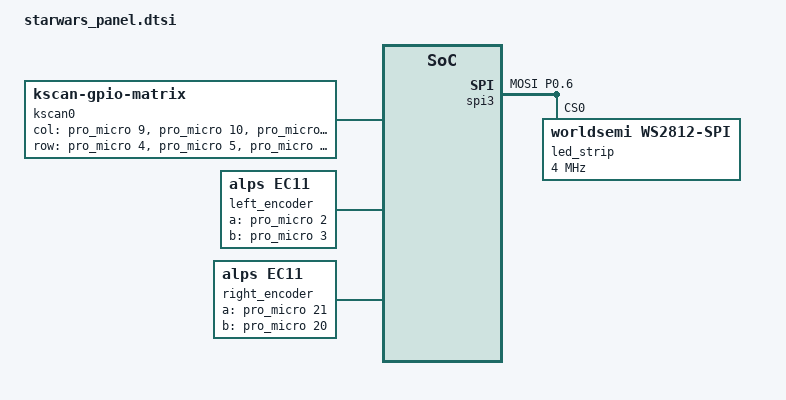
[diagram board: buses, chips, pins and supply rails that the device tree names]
/*
 * Star Wars control panel - hardware description (nice!nano v2 / pro micro pinout)
 *
 * 5x5 row2col matrix (23 keys + 2 layer switches), 2x EC11 encoders,
 * 12x WS2812B on SPI3 MOSI.
 *
 *   Rows (outputs) : D4  D5  D6  D7  D8
 *   Cols (inputs)  : D9  D10 D16 D14 D15
 *   Encoder 1 A/B  : D2  D3
 *   Encoder 2 A/B  : A0  A1
 *   WS2812 data    : D1 (P0.06) via SPI3 MOSI
 *
 * &pro_micro N: D0-D10 = 0-10, D14/D15/D16 = 14/15/16, A3/A2/A1/A0 = 18/19/20/21
 */

#include <dt-bindings/led/led.h>

/ {
	chosen {
		zmk,kscan = &kscan0;
		zmk,underglow = &led_strip;
	};

	kscan0: kscan_0 {
		compatible = "zmk,kscan-gpio-matrix";
		diode-direction = "row2col";
		wakeup-source;

		col-gpios
			= <&pro_micro 9  (GPIO_ACTIVE_HIGH | GPIO_PULL_DOWN)>
			, <&pro_micro 10 (GPIO_ACTIVE_HIGH | GPIO_PULL_DOWN)>
			, <&pro_micro 16 (GPIO_ACTIVE_HIGH | GPIO_PULL_DOWN)>
			, <&pro_micro 14 (GPIO_ACTIVE_HIGH | GPIO_PULL_DOWN)>
			, <&pro_micro 15 (GPIO_ACTIVE_HIGH | GPIO_PULL_DOWN)>
			;

		row-gpios
			= <&pro_micro 4 GPIO_ACTIVE_HIGH>
			, <&pro_micro 5 GPIO_ACTIVE_HIGH>
			, <&pro_micro 6 GPIO_ACTIVE_HIGH>
			, <&pro_micro 7 GPIO_ACTIVE_HIGH>
			, <&pro_micro 8 GPIO_ACTIVE_HIGH>
			;
	};

	left_encoder: encoder_left {
		compatible = "alps,ec11";
		a-gpios = <&pro_micro 2 (GPIO_ACTIVE_HIGH | GPIO_PULL_UP)>;
		b-gpios = <&pro_micro 3 (GPIO_ACTIVE_HIGH | GPIO_PULL_UP)>;
		steps = <80>;
		status = "okay";
	};

	right_encoder: encoder_right {
		compatible = "alps,ec11";
		a-gpios = <&pro_micro 21 (GPIO_ACTIVE_HIGH | GPIO_PULL_UP)>;
		b-gpios = <&pro_micro 20 (GPIO_ACTIVE_HIGH | GPIO_PULL_UP)>;
		steps = <80>;
		status = "okay";
	};

	sensors {
		compatible = "zmk,keymap-sensors";
		sensors = <&left_encoder &right_encoder>;
		triggers-per-rotation = <20>;
	};
};

/* WS2812B on SPI3, MOSI only (P0.06 = D1 on nice!nano) */
&pinctrl {
	spi3_default: spi3_default {
		group1 {
			psels = <NRF_PSEL(SPIM_MOSI, 0, 6)>;
		};
	};

	spi3_sleep: spi3_sleep {
		group1 {
			psels = <NRF_PSEL(SPIM_MOSI, 0, 6)>;
			low-power-enable;
		};
	};
};

&spi3 {
	compatible = "nordic,nrf-spim";
	status = "okay";
	pinctrl-0 = <&spi3_default>;
	pinctrl-1 = <&spi3_sleep>;
	pinctrl-names = "default", "sleep";

	led_strip: ws2812@0 {
		compatible = "worldsemi,ws2812-spi";
		reg = <0>;
		spi-max-frequency = <4000000>;
		chain-length = <12>;
		spi-one-frame = <0x70>;
		spi-zero-frame = <0x40>;
		color-mapping = <LED_COLOR_ID_GREEN LED_COLOR_ID_RED LED_COLOR_ID_BLUE>;
	};
};
